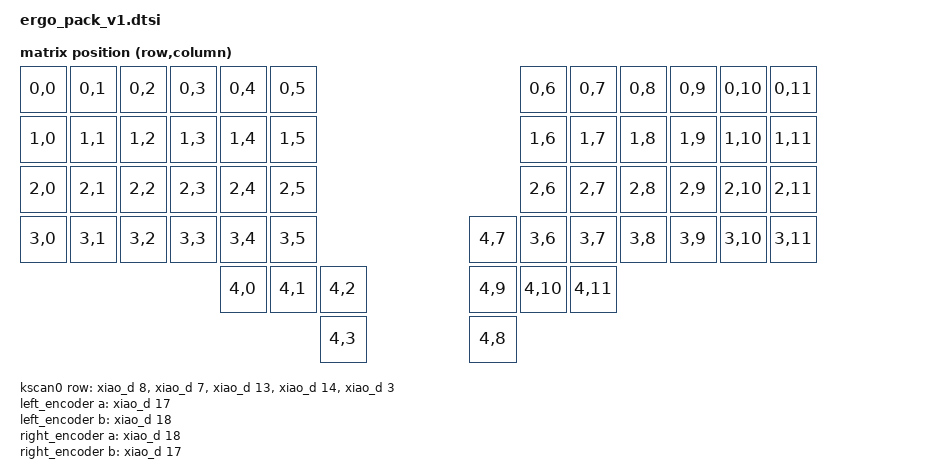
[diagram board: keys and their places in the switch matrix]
/*
 * Copyright (c) 2026 The ZMK Contributors
 *
 * SPDX-License-Identifier: MIT
 */

#include <dt-bindings/zmk/matrix_transform.h>
#include <dt-bindings/zmk/hid_indicators.h>
#include <physical_layouts.dtsi>

/ {
    kscan0: kscan0 {
        compatible = "zmk,kscan-gpio-matrix";
        diode-direction = "row2col";
        wakeup-source;

        row-gpios
            = <&xiao_d  8 GPIO_ACTIVE_HIGH>
            , <&xiao_d  7 GPIO_ACTIVE_HIGH>
            , <&xiao_d 13 GPIO_ACTIVE_HIGH>
            , <&xiao_d 14 GPIO_ACTIVE_HIGH>
            , <&xiao_d  3 GPIO_ACTIVE_HIGH>
            ;
    };

    default_transform: keymap_transform0 {
        compatible = "zmk,matrix-transform";
        columns = <12>;
        rows = <5>;
        map = <
            RC(0,0) RC(0,1) RC(0,2) RC(0,3) RC(0,4) RC(0,5)                     RC(0,6)  RC(0,7)  RC(0,8) RC(0,9) RC(0,10) RC(0,11)
            RC(1,0) RC(1,1) RC(1,2) RC(1,3) RC(1,4) RC(1,5)                     RC(1,6)  RC(1,7)  RC(1,8) RC(1,9) RC(1,10) RC(1,11)
            RC(2,0) RC(2,1) RC(2,2) RC(2,3) RC(2,4) RC(2,5)                     RC(2,6)  RC(2,7)  RC(2,8) RC(2,9) RC(2,10) RC(2,11)
            RC(3,0) RC(3,1) RC(3,2) RC(3,3) RC(3,4) RC(3,5)             RC(4,7) RC(3,6)  RC(3,7)  RC(3,8) RC(3,9) RC(3,10) RC(3,11)
                                            RC(4,0) RC(4,1) RC(4,2)     RC(4,9) RC(4,10) RC(4,11)
                                                            RC(4,3)     RC(4,8)
        >;
    };

    left_encoder: encoder_left {
        compatible = "alps,ec11";
        a-gpios = <&xiao_d 17 (GPIO_ACTIVE_HIGH | GPIO_PULL_UP)>;
        b-gpios = <&xiao_d 18 (GPIO_ACTIVE_HIGH | GPIO_PULL_UP)>;
        steps = <80>;
        status = "disabled";
    };

    right_encoder: encoder_right {
        compatible = "alps,ec11";
        a-gpios = <&xiao_d 18 (GPIO_ACTIVE_HIGH | GPIO_PULL_UP)>;
        b-gpios = <&xiao_d 17 (GPIO_ACTIVE_HIGH | GPIO_PULL_UP)>;
        steps = <80>;
        /* Right overlay selects this half; firmware still instantiates node on central config. */
        status = "disabled";
    };

    sensors: sensors {
        compatible = "zmk,keymap-sensors";
        sensors = <&left_encoder &right_encoder>;
        triggers-per-rotation = <20>;
    };

    leds {
        compatible = "gpio-leds";

        caps_lock_led: caps_lock_led {
            gpios = <&xiao_d 2 GPIO_ACTIVE_HIGH>;
        };
    };

    indicators: indicators {
        compatible = "zmk,indicator-leds";

        caps_lock_indicator: caps_lock {
            indicator = <HID_INDICATOR_CAPS_LOCK>;
            leds = <&caps_lock_led>;
        };
    };

    /* Physical layout for ZMK Studio. Order MUST match default_transform.map above.
     * Units are centi-keyunits (1u = 100). 6 cols per half with a 150-unit gap between
     * halves, 4 main rows, 1 middle thumb on row 3, 6 outer thumbs on row 4, 2 inner
     * thumbs on row 5. Geometry is a reasonable approximation; tweak to taste. */
    physical_layout0: physical_layout_0 {
        compatible = "zmk,physical-layout";
        display-name = "Default";
        transform = <&default_transform>;

        keys  //                          w    h     x    y rot rx ry
            /* Row 0 */
            = <&key_physical_attrs 100 100    0    0  0 0 0>
            , <&key_physical_attrs 100 100  100    0  0 0 0>
            , <&key_physical_attrs 100 100  200    0  0 0 0>
            , <&key_physical_attrs 100 100  300    0  0 0 0>
            , <&key_physical_attrs 100 100  400    0  0 0 0>
            , <&key_physical_attrs 100 100  500    0  0 0 0>

            , <&key_physical_attrs 100 100 1000    0  0 0 0>
            , <&key_physical_attrs 100 100 1100    0  0 0 0>
            , <&key_physical_attrs 100 100 1200    0  0 0 0>
            , <&key_physical_attrs 100 100 1300    0  0 0 0>
            , <&key_physical_attrs 100 100 1400    0  0 0 0>
            , <&key_physical_attrs 100 100 1500    0  0 0 0>

            /* Row 1 */
            , <&key_physical_attrs 100 100    0  100  0 0 0>
            , <&key_physical_attrs 100 100  100  100  0 0 0>
            , <&key_physical_attrs 100 100  200  100  0 0 0>
            , <&key_physical_attrs 100 100  300  100  0 0 0>
            , <&key_physical_attrs 100 100  400  100  0 0 0>
            , <&key_physical_attrs 100 100  500  100  0 0 0>

            , <&key_physical_attrs 100 100 1000  100  0 0 0>
            , <&key_physical_attrs 100 100 1100  100  0 0 0>
            , <&key_physical_attrs 100 100 1200  100  0 0 0>
            , <&key_physical_attrs 100 100 1300  100  0 0 0>
            , <&key_physical_attrs 100 100 1400  100  0 0 0>
            , <&key_physical_attrs 100 100 1500  100  0 0 0>

            /* Row 2 */
            , <&key_physical_attrs 100 100    0  200  0 0 0>
            , <&key_physical_attrs 100 100  100  200  0 0 0>
            , <&key_physical_attrs 100 100  200  200  0 0 0>
            , <&key_physical_attrs 100 100  300  200  0 0 0>
            , <&key_physical_attrs 100 100  400  200  0 0 0>
            , <&key_physical_attrs 100 100  500  200  0 0 0>

            , <&key_physical_attrs 100 100 1000  200  0 0 0>
            , <&key_physical_attrs 100 100 1100  200  0 0 0>
            , <&key_physical_attrs 100 100 1200  200  0 0 0>
            , <&key_physical_attrs 100 100 1300  200  0 0 0>
            , <&key_physical_attrs 100 100 1400  200  0 0 0>
            , <&key_physical_attrs 100 100 1500  200  0 0 0>

            /* Row 3 — left half, middle thumb (RC(4,7)), right half */
            , <&key_physical_attrs 100 100    0  300  0 0 0>
            , <&key_physical_attrs 100 100  100  300  0 0 0>
            , <&key_physical_attrs 100 100  200  300  0 0 0>
            , <&key_physical_attrs 100 100  300  300  0 0 0>
            , <&key_physical_attrs 100 100  400  300  0 0 0>
            , <&key_physical_attrs 100 100  500  300  0 0 0>

            , <&key_physical_attrs 100 100  900  300  0 0 0>
            , <&key_physical_attrs 100 100 1000  300  0 0 0>
            , <&key_physical_attrs 100 100 1100  300  0 0 0>
            , <&key_physical_attrs 100 100 1200  300  0 0 0>
            , <&key_physical_attrs 100 100 1300  300  0 0 0>
            , <&key_physical_attrs 100 100 1400  300  0 0 0>
            , <&key_physical_attrs 100 100 1500  300  0 0 0>

            /* Row 4 — outer thumb cluster (3 per side) */
            , <&key_physical_attrs 100 100  400  400  0 0 0>
            , <&key_physical_attrs 100 100  500  400  0 0 0>
            , <&key_physical_attrs 100 100  600  400  0 0 0>

            , <&key_physical_attrs 100 100  900  400  0 0 0>
            , <&key_physical_attrs 100 100 1000  400  0 0 0>
            , <&key_physical_attrs 100 100 1100  400  0 0 0>

            /* Row 5 — inner thumbs (BLUE / RED) */
            , <&key_physical_attrs 100 100  600  500  0 0 0>

            , <&key_physical_attrs 100 100  900  500  0 0 0>
            ;
    };

    chosen {
        zmk,kscan = &kscan0;
        zmk,physical-layout = &physical_layout0;
    };
};
